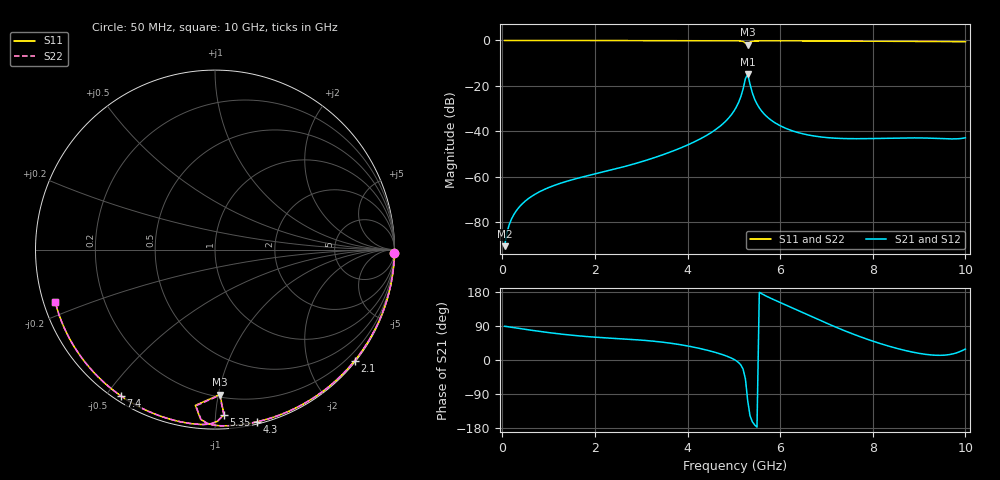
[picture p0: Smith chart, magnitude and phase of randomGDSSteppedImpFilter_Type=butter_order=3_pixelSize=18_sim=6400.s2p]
! freq	dB(S11)	phase(S11)	dB(S12)	phase(S12)
!  dB(S21)	phase(S21)	dB(S22)	phase(S22)
!S-par simulation data
#  GHz  S  DB  R 50
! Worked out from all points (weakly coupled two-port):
!   200 points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, 50 MHz to 10 GHz, reference 50 ohm
!   highest |S21| = -14.98 dB at 5.3 GHz (marker M1); lowest = -90.7 dB at 50 MHz (marker M2)
!   lowest |S11| = -1.8 dB at 5.3 GHz (marker M3), VSWR 9.43, Z = 10.8 - j50.5 ohm
!   |S11| at or under -10 dB: nowhere
!   |S22| runs from -1.8 to 0.0 dB; largest |S21 - S12| = 0
!   S11 on the Smith chart (normalised r, x): 50 MHz: open; 2.1 GHz: 0.03, -2.87; 4.3 GHz: 0.02, -1.27; 5.35 GHz: 0.09, -1.05; 7.4 GHz: 0.02, -0.54; 10 GHz: 0.03, -0.16
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0.05  -0.00 -0.9  -90.73 89.1  -90.73 89.1  -0.00 -0.9
0.15  -0.00 -2.8  -81.19 87.2  -81.19 87.2  -0.00 -2.8
0.4  -0.01 -7.5  -72.70 82.6  -72.70 82.6  -0.01 -7.5
0.75  -0.01 -14.0  -67.32 76.4  -67.32 76.4  -0.01 -14.0
1.75  -0.04 -32.2  -60.12 62.6  -60.12 62.6  -0.04 -32.2
2.1  -0.05 -38.4  -58.37 59.4  -58.37 59.4  -0.05 -38.4
3.4  -0.08 -61.1  -50.88 47.9  -50.88 47.9  -0.08 -61.1
4.3  -0.11 -76.2  -43.14 29.5  -43.14 29.5  -0.11 -76.2
4.75  -0.13 -83.9  -37.00 14.4  -37.00 14.4  -0.13 -83.8
5.05  -0.18 -89.8  -29.51 -1.8  -29.51 -1.8  -0.18 -89.7
5.15  -0.28 -92.7  -24.86 -13.0  -24.86 -13.0  -0.27 -92.5
5.25  -1.16 -97.2  -16.79 -49.9  -16.79 -49.9  -1.14 -97.0
5.3  -1.85 -88.1  -14.98 -108.0  -14.98 -108.0  -1.81 -88.1
5.35  -0.71 -86.9  -19.33 -147.6  -19.33 -147.6  -0.70 -87.0
5.4  -0.38 -89.3  -23.16 -163.1  -23.16 -163.1  -0.38 -89.3
5.5  -0.23 -92.4  -28.05 -177.0  -28.05 -177.0  -0.23 -92.4
5.75  -0.19 -97.4  -34.26 165.6  -34.26 165.6  -0.19 -97.4
6.15  -0.20 -104.0  -38.99 143.6  -38.99 143.6  -0.20 -104.0
6.7  -0.23 -112.5  -42.03 113.5  -42.03 113.5  -0.23 -112.4
7.4  -0.27 -122.9  -43.28 76.8  -43.28 76.8  -0.27 -122.8
8.35  -0.36 -136.9  -43.09 36.4  -43.09 36.4  -0.36 -136.8
10  -0.57 -161.9  -42.91 28.9  -42.91 28.9  -0.57 -161.8
